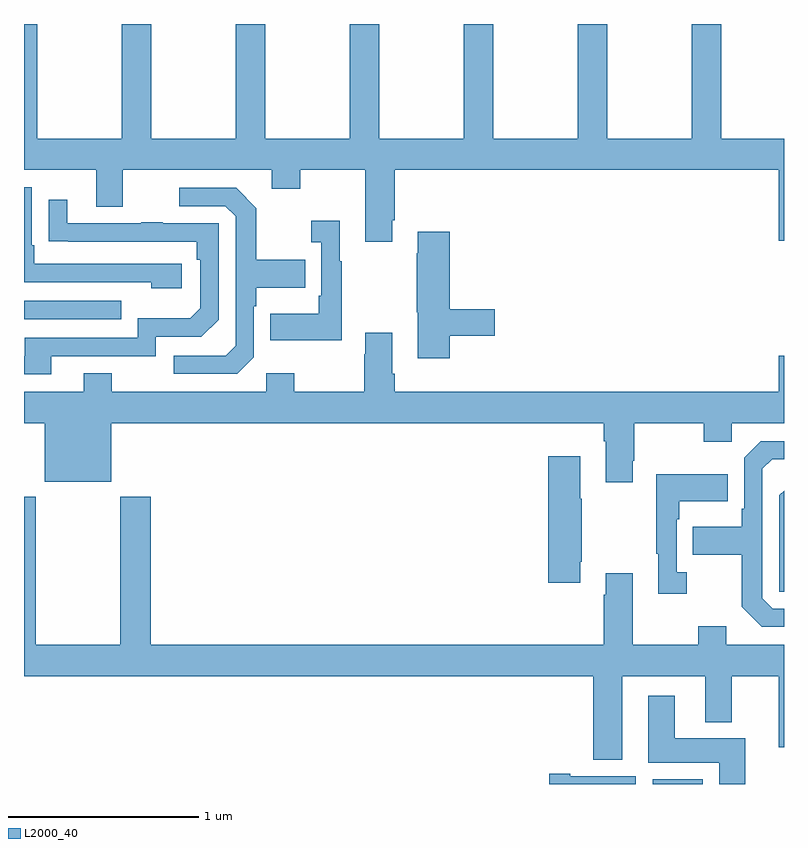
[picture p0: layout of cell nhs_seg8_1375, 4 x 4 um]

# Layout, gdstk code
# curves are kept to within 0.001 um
import gdstk
lib = gdstk.Library(unit=1e-6, precision=1e-09)
def R(c, l, rs):  # rectangles x0, y0, x1, y1
    for r in rs: c.add(gdstk.rectangle(r[:2], r[2:], *l))
def P(c, l, *ps):  # polygons
    for p in ps: c.add(gdstk.Polygon(p, *l))
L2000_40 = (2000, 40)

nhs_seg8_1375 = lib.new_cell('nhs_seg8_1375')
R(nhs_seg8_1375, L2000_40, [(200.309,1147.9,200.572,1147.924), (197,1150.347,197.513,1150.443)])
P(nhs_seg8_1375, L2000_40, [(198.937,1150.867),(198.95,1150.867),(198.95,1151.132),(200.972,1151.132),(200.972,1150.758),(201,1150.758),(201,1151.296),(200.67,1151.296),(200.67,1151.9),(200.515,1151.9),(200.515,1151.296),(200.07,1151.296),(200.07,1151.9),(199.915,1151.9),(199.915,1151.296),(199.47,1151.296),(199.47,1151.9),(199.315,1151.9),(199.315,1151.296),(198.87,1151.296),(198.87,1151.9),(198.715,1151.9),(198.715,1151.296),(198.27,1151.296),(198.27,1151.9),(198.115,1151.9),(198.115,1151.296),(197.67,1151.296),(197.67,1151.9),(197.515,1151.9),(197.515,1151.296),(197.07,1151.296),(197.07,1151.9),(197,1151.9),(197,1151.132),(197.381,1151.132),(197.381,1150.938),(197.521,1150.938),(197.521,1151.132),(198.305,1151.132),(198.305,1151.033),(198.453,1151.033),(198.453,1151.132),(198.797,1151.132),(198.797,1150.755),(198.937,1150.755)],
  [(197.83,1150.638),(197.053,1150.638),(197.053,1150.735),(197.04,1150.735),(197.04,1151.04),(197,1151.04),(197,1150.542),(197.669,1150.542),(197.669,1150.508),(197.83,1150.508)],
  [(198.21,1150.146),(198.21,1150.415),(198.223,1150.415),(198.223,1150.511),(198.479,1150.511),(198.479,1150.659),(198.223,1150.659),(198.223,1150.931),(198.117,1151.037),(197.817,1151.037),(197.817,1150.941),(198.06,1150.941),(198.114,1150.887),(198.114,1150.206),(198.063,1150.155),(197.787,1150.155),(197.787,1150.059),(198.123,1150.059)],
  [(197.143,1150.152),(197.694,1150.152),(197.694,1150.254),(197.934,1150.254),(198.024,1150.344),(198.024,1150.851),(197.729,1150.851),(197.729,1150.856),(197.617,1150.856),(197.617,1150.851),(197.227,1150.851),(197.227,1150.975),(197.131,1150.975),(197.131,1150.756),(197.908,1150.755),(197.908,1150.658),(197.928,1150.658),(197.928,1150.404),(197.875,1150.351),(197.598,1150.351),(197.598,1150.248),(197.003,1150.248),(197.003,1150.152),(197,1150.152),(197,1150.056),(197.143,1150.056)],
  [(198.673,1150.651),(198.661,1150.651),(198.661,1150.864),(198.513,1150.864),(198.513,1150.751),(198.564,1150.751),(198.564,1150.471),(198.552,1150.471),(198.552,1150.375),(198.295,1150.375),(198.295,1150.235),(198.673,1150.235)],
  [(199.241,1150.258),(199.477,1150.258),(199.477,1150.4),(199.241,1150.4),(199.241,1150.807),(199.073,1150.807),(199.073,1150.694),(199.066,1150.694),(199.066,1150.383),(199.073,1150.383),(199.073,1150.14),(199.241,1150.14)],
  [(200.203,1149.601),(200.211,1149.601),(200.211,1149.8),(200.578,1149.8),(200.578,1149.701),(200.724,1149.701),(200.724,1149.8),(201,1149.8),(201,1150.153),(200.972,1150.153),(200.972,1149.964),(198.95,1149.964),(198.95,1150.06),(198.937,1150.06),(198.937,1150.276),(198.797,1150.276),(198.797,1150.163),(198.79,1150.163),(198.79,1149.964),(198.423,1149.964),(198.423,1150.063),(198.276,1150.063),(198.276,1149.964),(197.463,1149.964),(197.463,1150.063),(197.315,1150.063),(197.315,1149.964),(197,1149.964),(197,1149.8),(197.108,1149.8),(197.108,1149.491),(197.458,1149.491),(197.458,1149.8),(200.051,1149.8),(200.051,1149.704),(200.063,1149.704),(200.063,1149.489),(200.203,1149.489)],
  [(201,1148.823),(200.94,1148.823),(200.886,1148.877),(200.886,1149.558),(200.937,1149.609),(201,1149.609),(201,1149.705),(200.877,1149.705),(200.79,1149.618),(200.79,1149.349),(200.778,1149.349),(200.778,1149.253),(200.521,1149.253),(200.521,1149.106),(200.778,1149.106),(200.778,1148.833),(200.883,1148.727),(201,1148.727)],
  [(199.927,1149.07),(199.935,1149.07),(199.935,1149.401),(199.927,1149.401),(199.927,1149.625),(199.76,1149.625),(199.76,1148.958),(199.927,1148.958)],
  [(200.488,1149.014),(200.436,1149.014),(200.436,1149.293),(200.449,1149.293),(200.449,1149.389),(200.705,1149.389),(200.705,1149.529),(200.328,1149.529),(200.328,1149.113),(200.339,1149.113),(200.339,1148.901),(200.488,1148.901)],
  [(201,1149.444),(200.976,1149.42),(200.976,1148.913),(201,1148.913)],
  [(200.149,1148.468),(200.585,1148.468),(200.585,1148.225),(200.725,1148.225),(200.725,1148.468),(200.972,1148.468),(200.972,1148.094),(201,1148.094),(201,1148.632),(200.695,1148.632),(200.695,1148.731),(200.548,1148.731),(200.548,1148.632),(200.203,1148.632),(200.203,1149.01),(200.063,1149.01),(200.063,1148.897),(200.051,1148.897),(200.051,1148.632),(197.666,1148.632),(197.666,1149.412),(197.506,1149.412),(197.506,1148.632),(197.061,1148.632),(197.061,1149.412),(197,1149.412),(197,1148.468),(199.997,1148.468),(199.997,1148.027),(200.149,1148.027)],
  [(200.795,1148.14),(200.425,1148.14),(200.425,1148.365),(200.285,1148.365),(200.285,1148.012),(200.66,1148.012),(200.66,1147.9),(200.795,1147.9)],
  [(200.221,1147.942),(199.876,1147.942),(199.876,1147.955),(199.764,1147.955),(199.764,1147.9),(200.221,1147.9)])

lib.write_gds('nhs_seg8_1375.gds')
